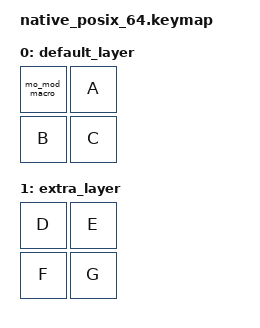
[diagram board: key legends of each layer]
/*
 * Copyright (c) 2022 The ZMK Contributors
 *
 * SPDX-License-Identifier: MIT
 */

#include <dt-bindings/zmk/keys.h>
#include <behaviors.dtsi>
#include <dt-bindings/zmk/kscan_mock.h>

/ {
    macros {
        ZMK_MACRO(
            mo_mod_macro,
            wait-ms = <0>;
            tap-ms = <20>;
            bindings
                = <&macro_press &mo 1 &kp LSHFT>
                , <&macro_pause_for_release>
                , <&macro_release &mo 1 &kp LSHFT>;
        )
    };

    keymap {
        compatible = "zmk,keymap";
        label ="Default keymap";

        default_layer {
            bindings = <
                &mo_mod_macro &kp A
                &kp B &kp C>;
        };

        extra_layer {
            bindings = <
                &kp D &kp E
                &kp F &kp G>;

        };

    };
};

&kscan {
    events = <ZMK_MOCK_PRESS(0,0,20) ZMK_MOCK_PRESS(0,1,10) ZMK_MOCK_RELEASE(0,1,10) ZMK_MOCK_RELEASE(0,0,1000)>;
};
